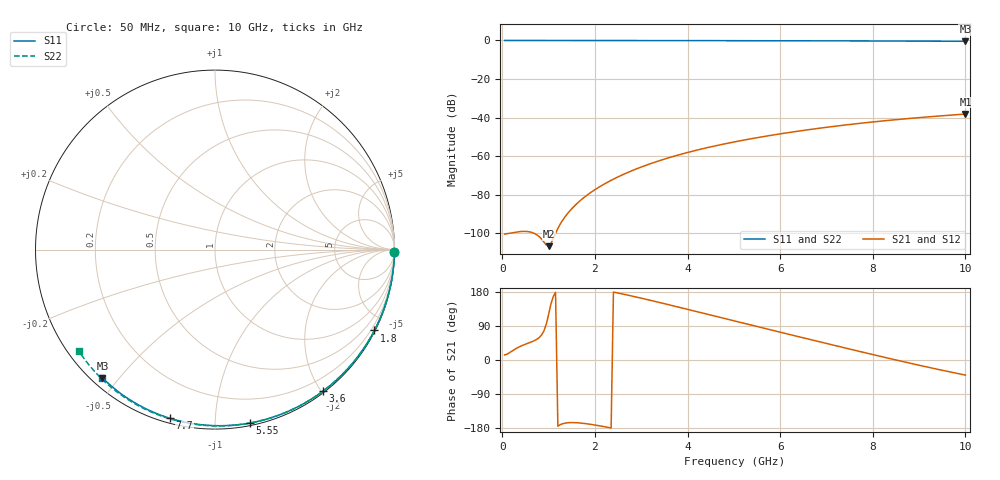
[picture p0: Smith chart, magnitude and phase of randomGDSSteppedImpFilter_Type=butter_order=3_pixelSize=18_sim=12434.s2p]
! freq	dB(S11)	phase(S11)	dB(S12)	phase(S12)
!  dB(S21)	phase(S21)	dB(S22)	phase(S22)
!S-par simulation data
#  GHz  S  DB  R 50
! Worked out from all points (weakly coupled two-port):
!   200 points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, 50 MHz to 10 GHz, reference 50 ohm
!   highest |S21| = -38.14 dB at 10 GHz (marker M1); lowest = -106.6 dB at 1 GHz (marker M2)
!   lowest |S11| = -0.4 dB at 10 GHz (marker M3), VSWR 39.83, Z = 1.51 - j22.6 ohm
!   |S11| at or under -10 dB: nowhere
!   |S22| runs from -0.5 to 0.0 dB; largest |S21 - S12| = 0
!   S11 on the Smith chart (normalised r, x): 50 MHz: open; 1.8 GHz: 0.04, -4.18; 3.6 GHz: 0.02, -2.02; 5.55 GHz: 0.02, -1.22; 7.7 GHz: 0.02, -0.77; 10 GHz: 0.03, -0.45
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0.05  -0.00 -0.8  -100.36 13.6  -100.36 13.6  -0.00 -0.8
0.5  -0.01 -7.6  -98.99 41.7  -98.99 41.7  -0.01 -8.3
1  -0.02 -15.1  -106.65 120.2  -106.65 120.2  -0.02 -16.5
1.75  -0.03 -26.2  -81.69 -167.2  -81.69 -167.2  -0.04 -28.7
1.8  -0.03 -26.9  -80.74 -167.9  -80.74 -167.9  -0.04 -29.5
1.85  -0.04 -27.6  -79.85 -168.7  -79.85 -168.7  -0.04 -30.3
2  -0.04 -29.8  -77.37 -171.5  -77.37 -171.5  -0.04 -32.7
2.15  -0.04 -32.0  -75.16 -174.7  -75.16 -174.7  -0.05 -35.0
2.35  -0.05 -34.9  -72.51 -179.4  -72.51 -179.4  -0.05 -38.2
2.55  -0.05 -37.8  -70.15 175.5  -70.15 175.5  -0.05 -41.3
2.95  -0.06 -43.5  -66.08 164.6  -66.08 164.6  -0.06 -47.6
3.4  -0.07 -49.8  -62.27 151.6  -62.27 151.6  -0.07 -54.5
3.6  -0.07 -52.6  -60.77 145.7  -60.77 145.7  -0.08 -57.5
4.3  -0.09 -62.2  -56.28 124.7  -56.28 124.7  -0.10 -67.9
5.05  -0.11 -72.1  -52.40 102.0  -52.40 102.0  -0.12 -78.6
5.55  -0.13 -78.6  -50.20 86.9  -50.20 86.9  -0.14 -85.6
6.1  -0.15 -85.5  -48.05 70.4  -48.05 70.4  -0.17 -93.2
6.7  -0.18 -92.9  -45.97 52.5  -45.97 52.5  -0.20 -101.2
7.7  -0.24 -104.9  -43.02 23.0  -43.02 23.0  -0.26 -114.2
8.35  -0.29 -112.5  -41.41 4.3  -41.41 4.3  -0.31 -122.5
9.2  -0.36 -122.2  -39.61 -19.2  -39.61 -19.2  -0.39 -133.2
10  -0.44 -131.2  -38.14 -39.8  -38.14 -39.8  -0.48 -143.3
